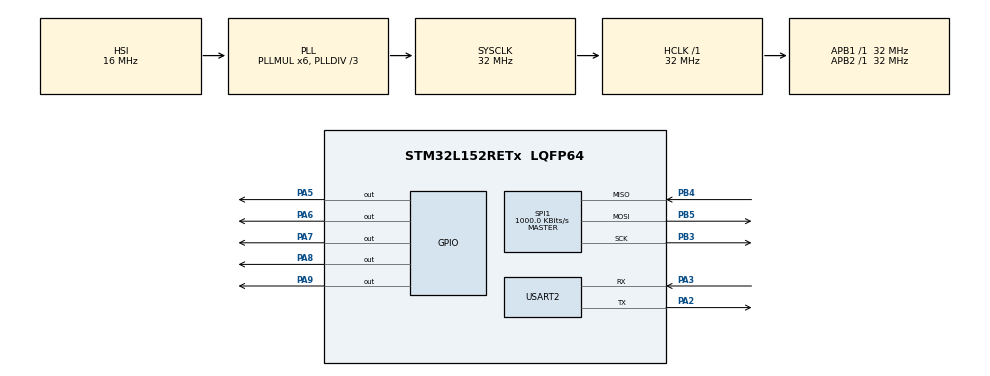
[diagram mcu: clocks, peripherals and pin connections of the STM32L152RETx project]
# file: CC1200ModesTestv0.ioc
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Mcu.Family=STM32L1
Mcu.Name=STM32L152RETx
Mcu.Package=LQFP64
NVIC.PriorityGroup=NVIC_PRIORITYGROUP_0
PA2.Mode=Asynchronous
PA2.Signal=USART2_TX
PA3.Mode=Asynchronous
PA3.Signal=USART2_RX
PA5.Signal=GPIO_Output
PA6.Signal=GPIO_Output
PA7.Signal=GPIO_Output
PA8.Signal=GPIO_Output
PA9.Signal=GPIO_Output
PB3.Mode=Full_Duplex_Master
PB3.Signal=SPI1_SCK
PB4.Mode=Full_Duplex_Master
PB4.Signal=SPI1_MISO
PB5.Mode=Full_Duplex_Master
PB5.Signal=SPI1_MOSI
ProjectManager.HeapSize=0x200
ProjectManager.StackSize=0x400
ProjectManager.TargetToolchain=MDK-ARM V5
RCC.48MHZClocksFreq_Value=48000000
RCC.AHBFreq_Value=32000000
RCC.APB1Freq_Value=32000000
RCC.APB1TimFreq_Value=32000000
RCC.APB2Freq_Value=32000000
RCC.APB2TimFreq_Value=32000000
RCC.HCLKFreq_Value=32000000
RCC.HSE_VALUE=8000000
RCC.HSI_VALUE=16000000
RCC.LSE_VALUE=32768
RCC.MSI_VALUE=2097000
RCC.PLLDIV=RCC_PLL_DIV3
RCC.PLLMUL=RCC_PLL_MUL6
RCC.RTCClockSelectionVirtual=RCC_RTCCLKSOURCE_LSE
RCC.SYSCLKFreq_VALUE=32000000
RCC.SYSCLKSource=RCC_SYSCLKSOURCE_PLLCLK
RCC.USBOutput=48000000
RCC.VCOOutputFreq_Value=96000000
SPI1.BaudRatePrescaler=SPI_BAUDRATEPRESCALER_32
SPI1.CalculateBaudRate=1000.0 KBits/s
SPI1.Direction=SPI_DIRECTION_2LINES
SPI1.Mode=SPI_MODE_MASTER
SPI1.VirtualType=VM_MASTER
USART2.VirtualMode=VM_ASYNC
board=NUCLEO-L152RE

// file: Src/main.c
/* USER CODE BEGIN Header */
/**
  ******************************************************************************
  * @file           : main.c
  * @brief          : Main program body
  ******************************************************************************
  *
  *  CC1200 SPI Test Harness
	*
	* Wiring:
	* Reset -- D7 (PA8)
	* CSN   -- D8 (PA9)
	* SCLK  -- D3 (PB3)
	* MOSI  -- D4 (PB5)
	* MISO  -- D5 (PB4)
	*
	* Use this test harness to check the operation of the CC1200 module
	*
	* The following tests and settings can be configured:
	*
  *
  ******************************************************************************
  */
/* USER CODE END Header */

#include "main.h"

/* USER CODE BEGIN Includes */

#include "string.h"
#include "CC1200_reg.h"
#include "smartrf_CC1200.h"

/* USER CODE END Includes */

/* USER CODE BEGIN PD */

// Pins
#define CSN GPIO_PIN_9
#define RESET GPIO_PIN_8

// Tests
//#define READ_WRITE_TEST
//#define COMMAND_STROBE_TEST
//#define SPI_FUNCTION_TEST
//#define INIT_TEST
#define SMARTRF_MIMIC_TEST

/* USER CODE END PD */

SPI_HandleTypeDef hspi1;

UART_HandleTypeDef huart2;

void SystemClock_Config(void);
static void MX_GPIO_Init(void);
static void MX_SPI1_Init(void);
static void MX_USART2_UART_Init(void);
/* USER CODE BEGIN PFP */

void trxRfSpiInterfaceInit(uint8_t prescalerValue);
uint8_t trx8BitRegAccess(uint8_t accessType, uint8_t addrByte, uint8_t *pData, int len);
uint8_t ReadWriteExtendedReg (uint8_t accessType, uint16_t address, uint8_t value);
uint8_t ReadWriteCommandReg (uint8_t address);
void CC1200_INIT(void);

/* USER CODE END PFP */

int main(void)
{
	#ifdef INIT_TEST
			HAL_Init();
			SystemClock_Config();
		  MX_GPIO_Init();
			MX_SPI1_Init();
			MX_USART2_UART_Init();

			while(1){
				HAL_GPIO_WritePin(GPIOA, CSN, GPIO_PIN_SET);

				//Set reset high, low, high to begin
				HAL_GPIO_WritePin(GPIOA, RESET, GPIO_PIN_SET);
				HAL_Delay(10);
				HAL_GPIO_WritePin(GPIOA, RESET, GPIO_PIN_RESET);
				HAL_Delay(10);
				HAL_GPIO_WritePin(GPIOA, RESET, GPIO_PIN_SET);
				HAL_Delay(10);
				CC1200_INIT();
				HAL_Delay(10);
				ReadWriteExtendedReg(CC1200_READ_BIT, CC1200_IOCFG2, 1);
			}
	#endif

  /* MCU Configuration--------------------------------------------------------*/

  /* Reset of all peripherals, Initializes the Flash interface and the Systick. */
  HAL_Init();

  /* Configure the system clock */
  SystemClock_Config();

  /* Initialize all configured peripherals */
  MX_GPIO_Init();
  MX_SPI1_Init();
  MX_USART2_UART_Init();
  /* USER CODE BEGIN 2 */

	///////////////////////////////////////////////////////////////////////
	// CSN and RESET setup
	///////////////////////////////////////////////////////////////////////

	//Set CS high
	HAL_GPIO_WritePin(GPIOA, CSN, GPIO_PIN_SET);

	//Set reset high, low, high to begin
	HAL_GPIO_WritePin(GPIOA, RESET, GPIO_PIN_SET);
	HAL_Delay(10);
	HAL_GPIO_WritePin(GPIOA, RESET, GPIO_PIN_RESET);
	HAL_Delay(10);
	HAL_GPIO_WritePin(GPIOA, RESET, GPIO_PIN_SET);
	HAL_Delay(10);

	CC1200_INIT();

	///////////////////////////////////////////////////////////////////////
	// Start the test
	///////////////////////////////////////////////////////////////////////

	uint16_t address = 0x2F02;
	uint8_t value = 0xa;
	uint8_t readValue;
	char Msg1[70] = {0};
	char Msg2[70] = {0};

	snprintf((char *)Msg1, sizeof(Msg1), "\n\nSTARTING THE CC1200 TRANSCEIVER TEST\n\n");
	HAL_UART_Transmit(&huart2, (uint8_t *) Msg1, sizeof(Msg1), 1);
	memcpy(Msg1, Msg2, 100);

	///////////////////////////////////////////////////////////////////////
  // Test reading and writing to a configuration register
	///////////////////////////////////////////////////////////////////////
	#ifdef SPI_FUNCTION_TEST

	uint8_t testString[] = {0x53, 0x6c, 0x75, 0x67, 0x53, 0x61, 0x74}; //"SlugSat" in hex
	while(1){
			HAL_SPI_Transmit(&hspi1, testString, 7, 100);
			HAL_Delay(100);
			HAL_GPIO_TogglePin(GPIOA, RESET);
	}
	#endif
	#ifdef SMARTRF_MIMIC_TEST

	//get chip information
	uint8_t testString0[] = {0x2f, 0x8f, 0x00, 0x00};
	uint8_t testString1[] = {0x3f, 0x8f, 0x00, 0x00};
	uint8_t testString2[] = {0xaf, 0x8f, 0x00, 0x00};
	uint8_t testString3[] = {0xef, 0x8f, 0x00, 0x00};
	//uint8_t testString4[] = {0x3d};
	uint8_t read;
	while(1){
		HAL_GPIO_WritePin(GPIOA, GPIO_PIN_9, GPIO_PIN_RESET);
		HAL_SPI_Transmit(&hspi1, testString0, 4, 100);
		while (HAL_SPI_GetState(&hspi1) != HAL_SPI_STATE_READY){};
		HAL_GPIO_WritePin(GPIOA, GPIO_PIN_9, GPIO_PIN_SET);
		HAL_Delay(1);

		HAL_GPIO_WritePin(GPIOA, GPIO_PIN_9, GPIO_PIN_RESET);
		HAL_SPI_Transmit(&hspi1, testString1, 4, 100);
		while (HAL_SPI_GetState(&hspi1) != HAL_SPI_STATE_READY){};
		HAL_GPIO_WritePin(GPIOA, GPIO_PIN_9, GPIO_PIN_SET);
		HAL_Delay(1);

		HAL_GPIO_WritePin(GPIOA, GPIO_PIN_9, GPIO_PIN_RESET);
		HAL_SPI_Transmit(&hspi1, testString2, 4, 100);
		while (HAL_SPI_GetState(&hspi1) != HAL_SPI_STATE_READY){};
		HAL_GPIO_WritePin(GPIOA, GPIO_PIN_9, GPIO_PIN_SET);
		HAL_Delay(1);

		HAL_GPIO_WritePin(GPIOA, GPIO_PIN_9, GPIO_PIN_RESET);
		HAL_SPI_Transmit(&hspi1, testString3, 4, 100);
		while (HAL_SPI_GetState(&hspi1) != HAL_SPI_STATE_READY){};
		HAL_GPIO_WritePin(GPIOA, GPIO_PIN_9, GPIO_PIN_SET);
		HAL_Delay(1);
		/*
		HAL_GPIO_WritePin(GPIOA, GPIO_PIN_9, GPIO_PIN_RESET);
		HAL_SPI_Transmit(&hspi1, testString4, 1, 100);
		while (HAL_SPI_GetState(&hspi1) != HAL_SPI_STATE_READY){};
		HAL_GPIO_WritePin(GPIOA, GPIO_PIN_9, GPIO_PIN_SET);
			*/
		HAL_Delay(10);
	}
	#endif

	#ifdef READ_WRITE_TEST

	/*
	Read the value at address 0x2F02 (configuration register CC1200_TOC_CFG) then set
	the value of this register to value 0xa.  Before the write this register should
	be reset to 0xb.
	*/
	CC1200_INIT();
	while(1){
		// Read initial reg value
		readValue = ReadWriteExtendedReg (CC1200_READ_BIT, address, value); //(0x80,0x2f02,0x0a)

		snprintf((char *)Msg1, sizeof(Msg1), "\r\nTest: read from register 0x%x: 0x%x\r\n", address, readValue);
		HAL_UART_Transmit(&huart2, (uint8_t *) Msg1, sizeof(Msg1), 1);

		snprintf((char *)Msg1, sizeof(Msg1), "\r\nTest: read from register should be '0xb', check init function if not \r\n");
		HAL_UART_Transmit(&huart2, (uint8_t *) Msg1, sizeof(Msg1), 1);

		// Write to register
		readValue = ReadWriteExtendedReg (CC1200_WRITE_BIT, address, value);

		// Read new value
		readValue = ReadWriteExtendedReg (CC1200_READ_BIT, address, value);

		snprintf((char *)Msg1, sizeof(Msg1), "\r\nTest: read from register 0x%x after writing to the register: 0x%x\r\n", address, readValue);
		HAL_UART_Transmit(&huart2, (uint8_t *) Msg1, sizeof(Msg1), 1);

		snprintf((char *)Msg1, sizeof(Msg1), "\r\nTest: read from register should be '0xa', check write function if not \r\n");
		HAL_UART_Transmit(&huart2, (uint8_t *) Msg1, sizeof(Msg1), 1);
		HAL_GPIO_TogglePin(GPIOA, RESET);
		HAL_Delay(10);
	}
	#endif

	///////////////////////////////////////////////////////////////////////
	// Test command strobes
	///////////////////////////////////////////////////////////////////////

	#ifdef COMMAND_STROBE_TEST

	memcpy(Msg1, Msg2, 100);
	snprintf((char *)Msg1, sizeof(Msg1), "\r\nMode Test Expected Bytes: transmit 0x2F, idle 0x0F, receive 0x1F\r\n");
	HAL_UART_Transmit(&huart2, (uint8_t *) Msg1, sizeof(Msg1), 1);

	readValue = ReadWriteCommandReg(CC1200_SFTX); // Flush tx fifo
	HAL_Delay(10);
	readValue = ReadWriteCommandReg(CC1200_SFRX); // Flush RXfifo
	HAL_Delay(10);
	readValue = ReadWriteCommandReg(CC1200_SNOP); // Seems to need HAL_Delay and a NOP to produce the correct status bit
	//HAL_Delay(1000);

	readValue = 0;
	readValue = ReadWriteCommandReg(CC1200_SIDLE); // Idle
	HAL_Delay(10);
	readValue = ReadWriteCommandReg(CC1200_SNOP); // Seems to need HAL_Delay and a NOP to produce the correct status bit

	memcpy(Msg1, Msg2, 100);
	snprintf((char *)Msg1, sizeof(Msg1), "\r\nMode Test: switch to idle: 0x%02x\r\n", readValue);
	HAL_UART_Transmit(&huart2, (uint8_t *) Msg1, sizeof(Msg1), 1);

	readValue = 0;
	HAL_GPIO_WritePin(GPIOA, GPIO_PIN_7, GPIO_PIN_RESET);
	//HAL_GPIO_WritePin(GPIOA, GPIO_PIN_6, GPIO_PIN_RESET);
	readValue = ReadWriteCommandReg(CC1200_STX); // Transmit
	HAL_Delay(10);
	readValue = ReadWriteCommandReg(CC1200_SNOP); // Seems to need HAL_Delay and a NOP to produce the correct status bit

	memcpy(Msg1, Msg2, 100);
	snprintf((char *)Msg1, sizeof(Msg1), "\r\nMode Test: switch to transmit: 0x%02x\r\n", readValue);
	HAL_UART_Transmit(&huart2, (uint8_t *) Msg1, sizeof(Msg1), 1);

	#endif

	///////////////////////////////////////////////////////////////////////
	// Configure all registers
	///////////////////////////////////////////////////////////////////////
	//HAL_Delay(100);
	CC1200_INIT();
	//HAL_Delay(100);

	// Check a register
	address = CC1200_AGC_CFG0;
  readValue = ReadWriteExtendedReg (CC1200_READ_BIT, address, value);

	memcpy(Msg1, Msg2, 100);
	snprintf((char *)Msg1, sizeof(Msg1), "\r\nTest: read from register 0x%x: 0x%x\r\n", address, readValue);
	HAL_UART_Transmit(&huart2, (uint8_t *) Msg1, sizeof(Msg1), 1);

	// Check a register
	address = CC1200_AGC_CFG1;
	uint8_t randRead = ReadWriteExtendedReg (CC1200_READ_BIT, address, value);

	memcpy(Msg1, Msg2, 100);
	snprintf((char *)Msg1, sizeof(Msg1), "\r\nTest: read from register 0x%x: 0x%x\r\n", address, randRead);
	HAL_UART_Transmit(&huart2, (uint8_t *) Msg1, sizeof(Msg1), 1);

	///////////////////////////////////////////////////////////////////////
	// Test: send a packet continuously and receive with the dev board
	///////////////////////////////////////////////////////////////////////

	readValue = 0;
	//address = 0x00;
	address = CC1200_TXFIFO;
	uint32_t sendAmt =114;

	uint16_t count = 0;
	uint16_t correct =0;
	uint16_t weird =0;
	uint16_t countErr = 0;
	//char Msg1[100] = {0};
	uint8_t txValuebefire = ReadWriteExtendedReg (CC1200_READ_BIT, CC1200_NUM_TXBYTES, value);

	memcpy(Msg1, Msg2, 100);
	snprintf((char *)Msg1, sizeof(Msg1), "\r\n befire TX bytes:0x%02x\r\n", txValuebefire);
	HAL_UART_Transmit(&huart2, (uint8_t *) Msg1, sizeof(Msg1), 1);
	for(int i = 0; i < sendAmt; i++)
	{
		// Read num_tx_bytes
		uint8_t txValue = ReadWriteExtendedReg (CC1200_READ_BIT, CC1200_NUM_TXBYTES, value);
		if (txValue < 128)
		{
			ReadWriteExtendedReg(CC1200_WRITE_BIT, address, i);
			HAL_Delay(1);
		}
		else
		{
			HAL_Delay(1);
			continue;
		}

		readValue = ReadWriteCommandReg(CC1200_SNOP); // Seems to need HAL_Delay and a NOP to produce the correct status bit
		HAL_Delay(8);

		if (readValue == 0x7f)
		{
			countErr++;
			ReadWriteCommandReg(CC1200_SFTX); // Flush if FIFO error
			i--;
			continue;
		}
		else if ((readValue & 0xf0) != 0x20)
		{
			ReadWriteCommandReg(CC1200_STX);
//			memcpy(Msg1, Msg2, 100);
//
//			snprintf((char *)Msg1, sizeof(Msg1), "\r\nStatus byte: 0x%02x\tNum TX bytes:0x%02x\r\n", readValue, txValue);
//			HAL_UART_Transmit(&huart2, (uint8_t *) Msg1, sizeof(Msg1), 1);
			count++;
			HAL_Delay(1);
		}

//		else if ((readValue & 0xf0) == 0x20)
//		{
//			correct++;
//		}
//		else
//		{
//		weird++;
//		}
	}

	// Check for errors again to make sure everything transmits properly
	// TO DO: make this code below into a while loop that checks if there are still bytes left in the TX FIFO
	for(int i = 0; i < sendAmt; i++)
	{
		readValue = ReadWriteCommandReg(CC1200_SNOP); // Seems to need HAL_Delay and a NOP to produce the correct status bit
		HAL_Delay(8);

		if (readValue == 0x7f)
		{
			countErr++;
			ReadWriteCommandReg(CC1200_SFTX); // Flush if FIFO error
			i--;
			continue;
		}
		else if ((readValue & 0xf0) != 0x20)
		{
			ReadWriteCommandReg(CC1200_STX);
//			memcpy(Msg1, Msg2, 100);
//
//			snprintf((char *)Msg1, sizeof(Msg1), "\r\nStatus byte: 0x%02x\tNum TX bytes:0x%02x\r\n", readValue, txValue);
//			HAL_UART_Transmit(&huart2, (uint8_t *) Msg1, sizeof(Msg1), 1);
			count++;
			HAL_Delay(1);
		}
		HAL_Delay(20);
	}

//	memcpy(Msg1, Msg2, 100);
//	snprintf((char *)Msg1, sizeof(Msg1), "\nRestrobing TX: %u\tFIFO Errors: %u\tCorrectly sent:%u\tWeird:%u\n", count, countErr,correct,weird);
//	HAL_UART_Transmit(&huart2, (uint8_t *) Msg1, sizeof(Msg1), 1);

	HAL_Delay(10);

//	readValue = ReadWriteExtendedReg(CC1200_READ_BIT, address, readValue);
//	memcpy(Msg1, Msg2, 100);
//	snprintf((char *)Msg1, sizeof(Msg1), "\nValue at register 0x%02x should be %u, is: %u\n", address, sendAmt - 1 , readValue);
//	HAL_UART_Transmit(&huart2, (uint8_t *) Msg1, sizeof(Msg1), 1);

	// Test receiving
	HAL_Delay(100);
//
//	readValue = ReadWriteCommandReg(CC1200_SFRX); // Flush RXfifo
//	HAL_Delay(10);
//
//	HAL_GPIO_WritePin(GPIOA, GPIO_PIN_7, GPIO_PIN_RESET);
//	readValue = 0;
//	readValue = ReadWriteCommandReg(CC1200_SRX); // Recieve
//	HAL_Delay(1000);
//	readValue = ReadWriteCommandReg(CC1200_SNOP); // Seems to need HAL_Delay and a NOP to produce the correct status bit
//	memcpy(Msg1, Msg2, 100);
//	snprintf((char *)Msg1, sizeof(Msg1), "\r\nMode Test: receive status byte: 0x%x\r\n", readValue);
//	HAL_UART_Transmit(&huart2, (uint8_t *) Msg1, sizeof(Msg1), 1);
//
//	address = CC1200_FIFO_NUM_RXBYTES;
//	readValue = ReadWriteExtendedReg(CC1200_READ_BIT, address, readValue);
//	memcpy(Msg1, Msg2, 100);
//	snprintf((char *)Msg1, sizeof(Msg1), "\r\nNumber of bytes in the RX fifo: 0x%x\r\n", readValue);
//	HAL_UART_Transmit(&huart2, (uint8_t *) Msg1, sizeof(Msg1), 1);
//

//	memcpy(Msg1, Msg2, 100);
//	snprintf((char *)Msg1, sizeof(Msg1), "\n\nEND OF TRANSCEIVER TEST %02x\n", readValue);
//	HAL_UART_Transmit(&huart2, (uint8_t *) Msg1, sizeof(Msg1), 1);
  /* USER CODE END 2 */

  /* Infinite loop */
  while (1)
  {

  }
}

void SystemClock_Config(void)
{
  RCC_OscInitTypeDef RCC_OscInitStruct = {0};
  RCC_ClkInitTypeDef RCC_ClkInitStruct = {0};

  /**Configure the main internal regulator output voltage
  */
  __HAL_PWR_VOLTAGESCALING_CONFIG(PWR_REGULATOR_VOLTAGE_SCALE1);
  /**Initializes the CPU, AHB and APB busses clocks
  */
  RCC_OscInitStruct.OscillatorType = RCC_OSCILLATORTYPE_HSI;
  RCC_OscInitStruct.HSIState = RCC_HSI_ON;
  RCC_OscInitStruct.HSICalibrationValue = RCC_HSICALIBRATION_DEFAULT;
  RCC_OscInitStruct.PLL.PLLState = RCC_PLL_ON;
  RCC_OscInitStruct.PLL.PLLSource = RCC_PLLSOURCE_HSI;
  RCC_OscInitStruct.PLL.PLLMUL = RCC_PLL_MUL6;
  RCC_OscInitStruct.PLL.PLLDIV = RCC_PLL_DIV3;
  if (HAL_RCC_OscConfig(&RCC_OscInitStruct) != HAL_OK)
  {
    Error_Handler();
  }
  /**Initializes the CPU, AHB and APB busses clocks
  */
  RCC_ClkInitStruct.ClockType = RCC_CLOCKTYPE_HCLK|RCC_CLOCKTYPE_SYSCLK
                              |RCC_CLOCKTYPE_PCLK1|RCC_CLOCKTYPE_PCLK2;
  RCC_ClkInitStruct.SYSCLKSource = RCC_SYSCLKSOURCE_PLLCLK;
  RCC_ClkInitStruct.AHBCLKDivider = RCC_SYSCLK_DIV1;
  RCC_ClkInitStruct.APB1CLKDivider = RCC_HCLK_DIV1;
  RCC_ClkInitStruct.APB2CLKDivider = RCC_HCLK_DIV1;

  if (HAL_RCC_ClockConfig(&RCC_ClkInitStruct, FLASH_LATENCY_1) != HAL_OK)
  {
    Error_Handler();
  }
}

static void MX_SPI1_Init(void)
{

  /* SPI1 parameter configuration*/
  hspi1.Instance = SPI1;
  hspi1.Init.Mode = SPI_MODE_MASTER;
  hspi1.Init.Direction = SPI_DIRECTION_2LINES;
  hspi1.Init.DataSize = SPI_DATASIZE_8BIT;
  hspi1.Init.CLKPolarity = SPI_POLARITY_LOW;
  hspi1.Init.CLKPhase = SPI_PHASE_1EDGE;
  hspi1.Init.NSS = SPI_NSS_SOFT;
  hspi1.Init.BaudRatePrescaler = SPI_BAUDRATEPRESCALER_32;
  hspi1.Init.FirstBit = SPI_FIRSTBIT_MSB;
  hspi1.Init.TIMode = SPI_TIMODE_DISABLE;
  hspi1.Init.CRCCalculation = SPI_CRCCALCULATION_DISABLE;
  hspi1.Init.CRCPolynomial = 10;
  if (HAL_SPI_Init(&hspi1) != HAL_OK)
  {
    Error_Handler();
  }

}

static void MX_USART2_UART_Init(void)
{

  huart2.Instance = USART2;
  huart2.Init.BaudRate = 115200;
  huart2.Init.WordLength = UART_WORDLENGTH_8B;
  huart2.Init.StopBits = UART_STOPBITS_1;
  huart2.Init.Parity = UART_PARITY_NONE;
  huart2.Init.Mode = UART_MODE_TX_RX;
  huart2.Init.HwFlowCtl = UART_HWCONTROL_NONE;
  huart2.Init.OverSampling = UART_OVERSAMPLING_16;
  if (HAL_UART_Init(&huart2) != HAL_OK)
  {
    Error_Handler();
  }

}

static void MX_GPIO_Init(void)
{
  GPIO_InitTypeDef GPIO_InitStruct = {0};

  /* GPIO Ports Clock Enable */
  __HAL_RCC_GPIOA_CLK_ENABLE();
  __HAL_RCC_GPIOB_CLK_ENABLE();

  /*Configure GPIO pin Output Level */
  HAL_GPIO_WritePin(GPIOA, GPIO_PIN_5|GPIO_PIN_6|GPIO_PIN_7|GPIO_PIN_8
                          |GPIO_PIN_9, GPIO_PIN_RESET);

  /*Configure GPIO pins : PA5 PA6 PA7 PA8
                           PA9 */
  GPIO_InitStruct.Pin = GPIO_PIN_5|GPIO_PIN_6|GPIO_PIN_7|GPIO_PIN_8
                          |GPIO_PIN_9;
  GPIO_InitStruct.Mode = GPIO_MODE_OUTPUT_PP;
  GPIO_InitStruct.Pull = GPIO_NOPULL;
  GPIO_InitStruct.Speed = GPIO_SPEED_FREQ_LOW;
  HAL_GPIO_Init(GPIOA, &GPIO_InitStruct);

}

/* USER CODE BEGIN 4 */

uint8_t ReadWriteExtendedReg (uint8_t accessType, uint16_t address, uint8_t value)
{
	// Chip select low
	HAL_GPIO_WritePin(GPIOA, GPIO_PIN_9, GPIO_PIN_RESET);

	uint8_t addrHI = address>>8;
	uint8_t addrLO = (uint8_t) address;
	uint8_t readValue = 0;

	if(accessType) { 	// Read from address

		if (addrHI)
		{
			addrHI |= CC1200_READ_BIT;
			HAL_SPI_Transmit(&hspi1,&addrHI, 1, 10);	// Access address
			while (HAL_SPI_GetState(&hspi1) != HAL_SPI_STATE_READY){};
			HAL_SPI_Transmit(&hspi1,&addrLO, 1, 10);
		}
		else
		{
			addrLO |= CC1200_READ_BIT;
			HAL_SPI_Transmit(&hspi1,&addrLO, 1, 10);
			while (HAL_SPI_GetState(&hspi1) != HAL_SPI_STATE_READY){};
		}
		HAL_SPI_Transmit(&hspi1,0x0, 1, 10); // Transmit 0 for read
		HAL_SPI_Receive(&hspi1, &readValue, 1, 1000); // Read value

	} else { // Write to address

		addrHI |= CC1200_WRITE_BIT;

		if (addrHI)
		{
			HAL_SPI_Transmit(&hspi1,&addrHI, 1, 10);	// Access address
			while (HAL_SPI_GetState(&hspi1) != HAL_SPI_STATE_READY){};
		}
		HAL_SPI_Transmit(&hspi1,&addrLO, 1, 10);
		while (HAL_SPI_GetState(&hspi1) != HAL_SPI_STATE_READY){};

		HAL_SPI_Transmit(&hspi1, &value, 1, 10);		// Write value
	}

	// Chip select high
	HAL_GPIO_WritePin(GPIOA, GPIO_PIN_9, GPIO_PIN_SET);

	return readValue;
}

uint8_t ReadWriteCommandReg (uint8_t address)
{
	// Chip select low
	HAL_GPIO_WritePin(GPIOA, GPIO_PIN_9, GPIO_PIN_RESET);

  uint8_t readValue  = 0;

	HAL_SPI_Transmit(&hspi1,&address, 1, 10);
	while (HAL_SPI_GetState(&hspi1) != HAL_SPI_STATE_READY){};
	HAL_SPI_Receive(&hspi1, &readValue, 1, 10);

	// Chip select high
	HAL_GPIO_WritePin(GPIOA, GPIO_PIN_9, GPIO_PIN_SET);

	return readValue;
}

void CC1200_INIT(void)
{
	ReadWriteExtendedReg(CC1200_WRITE_BIT, CC1200_IOCFG2, SMARTRF_SETTING_IOCFG2);
	ReadWriteExtendedReg(CC1200_WRITE_BIT, CC1200_DEVIATION_M, SMARTRF_SETTING_DEVIATION_M);
	ReadWriteExtendedReg(CC1200_WRITE_BIT, CC1200_MODCFG_DEV_E, SMARTRF_SETTING_MODCFG_DEV_E);
	ReadWriteExtendedReg(CC1200_WRITE_BIT, CC1200_DCFILT_CFG, SMARTRF_SETTING_DCFILT_CFG);
	ReadWriteExtendedReg(CC1200_WRITE_BIT, CC1200_PREAMBLE_CFG0, SMARTRF_SETTING_PREAMBLE_CFG0);
	ReadWriteExtendedReg(CC1200_WRITE_BIT, CC1200_IQIC, SMARTRF_SETTING_IQIC);
	ReadWriteExtendedReg(CC1200_WRITE_BIT, CC1200_CHAN_BW, SMARTRF_SETTING_CHAN_BW);
	ReadWriteExtendedReg(CC1200_WRITE_BIT, CC1200_MDMCFG1, SMARTRF_SETTING_MDMCFG1);
	ReadWriteExtendedReg(CC1200_WRITE_BIT, CC1200_MDMCFG0, SMARTRF_SETTING_MDMCFG0);
	ReadWriteExtendedReg(CC1200_WRITE_BIT, CC1200_SYMBOL_RATE2, SMARTRF_SETTING_SYMBOL_RATE2);
	ReadWriteExtendedReg(CC1200_WRITE_BIT, CC1200_SYMBOL_RATE1, SMARTRF_SETTING_SYMBOL_RATE1);
	ReadWriteExtendedReg(CC1200_WRITE_BIT, CC1200_SYMBOL_RATE0, SMARTRF_SETTING_SYMBOL_RATE0);
	ReadWriteExtendedReg(CC1200_WRITE_BIT, CC1200_AGC_REF, SMARTRF_SETTING_AGC_REF);
	ReadWriteExtendedReg(CC1200_WRITE_BIT, CC1200_AGC_CS_THR, SMARTRF_SETTING_AGC_CS_THR);
	ReadWriteExtendedReg(CC1200_WRITE_BIT, CC1200_AGC_CFG1, SMARTRF_SETTING_AGC_CFG1);
	ReadWriteExtendedReg(CC1200_WRITE_BIT, CC1200_AGC_CFG0, SMARTRF_SETTING_AGC_CFG0);
	ReadWriteExtendedReg(CC1200_WRITE_BIT, CC1200_FIFO_CFG, SMARTRF_SETTING_FIFO_CFG);
	ReadWriteExtendedReg(CC1200_WRITE_BIT, CC1200_FS_CFG, SMARTRF_SETTING_FS_CFG);
	ReadWriteExtendedReg(CC1200_WRITE_BIT, CC1200_PKT_CFG2, SMARTRF_SETTING_PKT_CFG2);
	ReadWriteExtendedReg(CC1200_WRITE_BIT, CC1200_PKT_CFG0, SMARTRF_SETTING_PKT_CFG0);
	ReadWriteExtendedReg(CC1200_WRITE_BIT, CC1200_PKT_LEN, SMARTRF_SETTING_PKT_LEN);
	ReadWriteExtendedReg(CC1200_WRITE_BIT, CC1200_IF_MIX_CFG, SMARTRF_SETTING_IF_MIX_CFG);
	ReadWriteExtendedReg(CC1200_WRITE_BIT, CC1200_FREQOFF_CFG, SMARTRF_SETTING_FREQOFF_CFG);
	ReadWriteExtendedReg(CC1200_WRITE_BIT, CC1200_MDMCFG2, SMARTRF_SETTING_MDMCFG2);
	ReadWriteExtendedReg(CC1200_WRITE_BIT, CC1200_FREQ2, SMARTRF_SETTING_FREQ2);
	ReadWriteExtendedReg(CC1200_WRITE_BIT, CC1200_FREQ1, SMARTRF_SETTING_FREQ1);
	ReadWriteExtendedReg(CC1200_WRITE_BIT, CC1200_FREQ0, SMARTRF_SETTING_FREQ0);
	ReadWriteExtendedReg(CC1200_WRITE_BIT, CC1200_IF_ADC1, SMARTRF_SETTING_IF_ADC1);
	ReadWriteExtendedReg(CC1200_WRITE_BIT, CC1200_IF_ADC0, SMARTRF_SETTING_IF_ADC0);
	ReadWriteExtendedReg(CC1200_WRITE_BIT, CC1200_FS_DIG1, SMARTRF_SETTING_FS_DIG1);
	ReadWriteExtendedReg(CC1200_WRITE_BIT, CC1200_FS_DIG0, SMARTRF_SETTING_FS_DIG0);
	ReadWriteExtendedReg(CC1200_WRITE_BIT, CC1200_FS_CAL1, SMARTRF_SETTING_FS_CAL1);
	ReadWriteExtendedReg(CC1200_WRITE_BIT, CC1200_FS_CAL0, SMARTRF_SETTING_FS_CAL0);
	ReadWriteExtendedReg(CC1200_WRITE_BIT, CC1200_FS_DIVTWO, SMARTRF_SETTING_FS_DIVTWO);
	ReadWriteExtendedReg(CC1200_WRITE_BIT, CC1200_FS_DSM0, SMARTRF_SETTING_FS_DSM0);
	ReadWriteExtendedReg(CC1200_WRITE_BIT, CC1200_FS_DVC0, SMARTRF_SETTING_FS_DVC0);
	ReadWriteExtendedReg(CC1200_WRITE_BIT, CC1200_FS_PFD, SMARTRF_SETTING_FS_PFD);
	ReadWriteExtendedReg(CC1200_WRITE_BIT, CC1200_FS_PRE, SMARTRF_SETTING_FS_PRE);
	ReadWriteExtendedReg(CC1200_WRITE_BIT, CC1200_FS_REG_DIV_CML, SMARTRF_SETTING_FS_REG_DIV_CML);
	ReadWriteExtendedReg(CC1200_WRITE_BIT, CC1200_FS_SPARE, SMARTRF_SETTING_FS_SPARE);
	ReadWriteExtendedReg(CC1200_WRITE_BIT, CC1200_FS_VCO0, SMARTRF_SETTING_FS_VCO0);
	ReadWriteExtendedReg(CC1200_WRITE_BIT, CC1200_XOSC5, SMARTRF_SETTING_XOSC5);
	ReadWriteExtendedReg(CC1200_WRITE_BIT, CC1200_XOSC1, SMARTRF_SETTING_XOSC1);
}

////////////////////////////// TI Reference Code, Not currently being used/////////////////////
static void trxReadWriteBurstSingle(uint8_t addr, uint8_t *pData, int len)
{
    int i;
    uint8_t dummy;
    /* Communicate len number of bytes: if RX - the procedure sends 0x00 to push bytes from slave*/
    if (addr & CC1200_READ_BIT) {
        if (addr & CC1200_BURST_BIT) {
            for (i = 0; i < len; i++) {
								HAL_SPI_Transmit(&hspi1,0x0, 1, 10);
                while (HAL_SPI_GetState(&hspi1) != HAL_SPI_STATE_READY);
                HAL_SPI_Receive(&hspi1, pData, 1, 10);
                pData++;

            }
        } else {
						HAL_SPI_Transmit(&hspi1,0x0, 1, 10);
            while (HAL_SPI_GetState(&hspi1) != HAL_SPI_STATE_READY);
            HAL_SPI_Receive(&hspi1, pData, 1, 10);
        }
    } else {
        if (addr & CC1200_BURST_BIT) {
            /* Communicate len number of bytes: if TX - the procedure doesn't overwrite pData */
            for (i = 0; i < len; i++) {
								HAL_SPI_Transmit(&hspi1,pData, 1, 10);
                while (HAL_SPI_GetState(&hspi1) != HAL_SPI_STATE_READY);
								HAL_SPI_Receive(&hspi1, &dummy, 1, 10);
                pData++;
            }
        } else {
						HAL_SPI_Transmit(&hspi1,pData, 1, 10);
            while (HAL_SPI_GetState(&hspi1) != HAL_SPI_STATE_READY);
						HAL_SPI_Receive(&hspi1, &dummy, 1, 10);
        }
    }
}

uint8_t trx8BitRegAccess(uint8_t accessType, uint8_t addrByte, uint8_t *pData, int len)
{
	uint8_t addr;
	uint8_t readValue  = 0;
	addr = accessType | addrByte;

	HAL_GPIO_WritePin(GPIOA, GPIO_PIN_9, GPIO_PIN_RESET);

	HAL_SPI_Transmit(&hspi1,&addr, 1, 10);
	while (HAL_SPI_GetState(&hspi1) != HAL_SPI_STATE_READY){};
	HAL_SPI_Receive(&hspi1, &readValue, 1, 10);
	trxReadWriteBurstSingle(accessType | addrByte, pData, len);

	HAL_GPIO_WritePin(GPIOA, GPIO_PIN_9, GPIO_PIN_SET);

	return (readValue);
}

/* USER CODE END 4 */

void Error_Handler(void)
{
}

/************************ (C) COPYRIGHT STMicroelectronics *****END OF FILE****/
